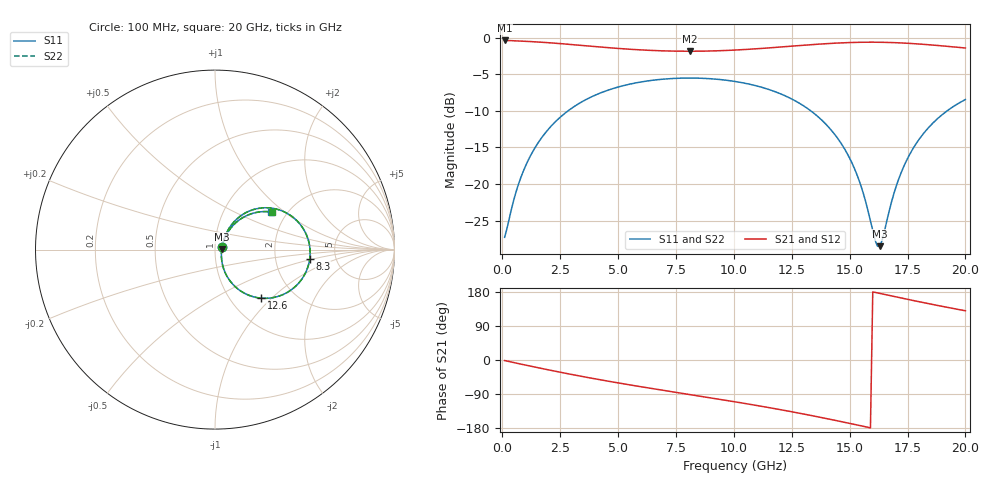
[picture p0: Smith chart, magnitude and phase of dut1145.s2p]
! Touchstone file exported from HFSS 2026.1.0
!  File:  C:/ffzhzh/LocalFiles/Ansys_Project_Files/temp_train_TSV_RDL_1145_1783309976_38820.aedt
!  Generated:  12:03:41 PM Jul  6, 2026
!  Design:  TSV_RDL
!  Project:  temp_train_TSV_RDL_1145_1783309976_38820
! Variables:
!  h_bsmrdl = 2.29um
!  h_ox = 20um
!  h_rdl = 5um
!  h_sub = 56.77um
!  h_tmrdl = 4.36um
!  h_tsv = 56.77um
!  h_via = 3um
!  l_bsmrdl = 850.79um
!  l_sub = 3954.82um
!  l_tmrdl = 228.09um
!  m_sub = 200um
!  pitch = 28.94um
!  r_tsv = 2.62um
!  s_tmrdl = 10um
!  w_bsmrdl = 12.43um
!  w_sub = 500um
!  w_tmrdl = 17.6um
!  x_tsv_center1 = 236.89um
!  x_tsv_center2 = 1100.11um
!  x_tsv_center3 = 1345.8um
!  x_tsv_center4 = 2209.02um
!  x_tsv_center5 = 2454.71um
!  x_tsv_center6 = 3317.93um
# GHz S MA R 50.000000
! Terminal data exported
! Port[1] = TM_RDL1_1_T1
! Port[2] = TM_RDL5_1_T1
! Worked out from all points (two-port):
!   200 points, 100 MHz to 20 GHz, reference 50 ohm
!   highest |S21| = -0.36 dB at 100 MHz (marker M1); lowest = -1.8 dB at 8.1 GHz (marker M2)
!   |S21| within 3 dB of the highest: start of sweep to end of sweep
!   lowest |S11| = -28.5 dB at 16.3 GHz (marker M3), VSWR 1.08, Z = 53.9 + j0.132 ohm
!   |S11| at or under -10 dB: start of sweep to 2.837 GHz; 13.33 GHz to 19.21 GHz (5.883 GHz wide, 36.2 % of centre)
!   |S22| runs from -28.5 to -5.5 dB; largest |S21 - S12| = 3.1e-14
!   S11 on the Smith chart (normalised r, x): 100 MHz: 1.09, +0.03; 8.3 GHz: 3.18, -0.46; 12.6 GHz: 1.38, -0.87; 20 GHz: 1.67, +0.82
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0.1  0.04317 16.8  0.9589 -1.4  0.9589 -1.4  0.04317 16.8
! Gamma 0 0 0 0
! Port Impedance 50 0 50 0
0.7  0.09975 53.8  0.9512 -9.5  0.9512 -9.5  0.09976 53.8
1.3  0.1649 56.4  0.9408 -17.3  0.9408 -17.3  0.165 56.4
2.3  0.2673 50.2  0.9179 -29.8  0.9179 -29.8  0.2673 50.2
3.5  0.3696 39.1  0.8848 -44.0  0.8848 -44.0  0.3696 39.1
5  0.4603 24.7  0.8457 -60.4  0.8457 -60.4  0.4603 24.7
6.8  0.5187 8.0  0.8154 -78.6  0.8154 -78.6  0.5187 8.0
8.1  0.5306 -3.8  0.8089 -91.2  0.8089 -91.2  0.5306 -3.8
8.3  0.5303 -5.6  0.8092 -93.1  0.8092 -93.1  0.5303 -5.6
10.1  0.5013 -22.1  0.8251 -110.8  0.8251 -110.8  0.5013 -22.1
12.6  0.3742 -46.4  0.8791 -137.7  0.8791 -137.7  0.3742 -46.4
13.4  0.3098 -54.2  0.8987 -147.2  0.8987 -147.2  0.3098 -54.2
14.3  0.2242 -62.3  0.9176 -158.3  0.9176 -158.3  0.2242 -62.3
15  0.1503 -66.1  0.9279 -167.2  0.9279 -167.2  0.1503 -66.1
15.6  0.08535 -62.2  0.9325 -175.1  0.9325 -175.1  0.08537 -62.2
16.1  0.04126 -30.1  0.9329 178.4  0.9329 178.4  0.04128 -30.1
16.3  0.03756 1.9  0.9321 175.7  0.9321 175.7  0.03758 1.9
16.7  0.06457 43.0  0.9291 170.5  0.9291 170.5  0.06458 43.0
17.2  0.1168 53.3  0.9226 164.0  0.9226 164.0  0.1168 53.3
17.9  0.1916 52.1  0.9091 155.0  0.9091 155.0  0.1916 52.1
18.8  0.2802 45.0  0.8862 143.9  0.8862 143.9  0.2802 45.0
20  0.3781 33.7  0.8515 129.9  0.8515 129.9  0.3781 33.6
